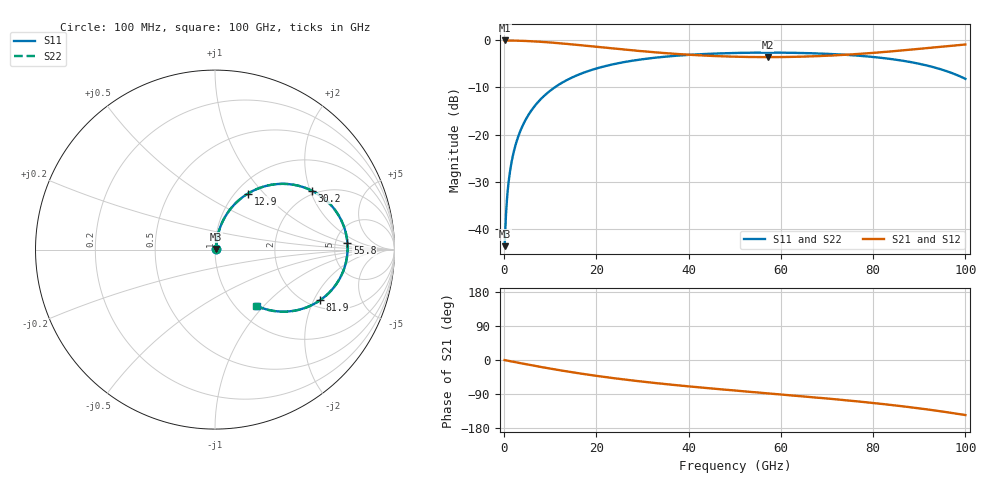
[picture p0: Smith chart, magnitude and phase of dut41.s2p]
! Touchstone file exported from HFSS 2026.1.0
!  File:  C:/ffzhzh/LocalFiles/Ansys_Project_Files/temp_train_RDL_41_1783498146_41296.aedt
!  Generated:  04:10:09 PM Jul  8, 2026
!  Design:  RDL
!  Project:  temp_train_RDL_41_1783498146_41296
! Variables:
!  h_bsmrdl = 2um
!  h_ox = 20um
!  h_rdl = 5um
!  h_sub = 80um
!  h_tmrdl = 2.78um
!  h_tsv = 80um
!  h_via = 3um
!  l_bsmrdl = 300um
!  l_sub = 904.33um
!  l_tmrdl = 504.33um
!  m_sub = 200um
!  pitch = 53.8um
!  r_tsv = 6um
!  s_tmrdl = 10um
!  w_bsmrdl = 18um
!  w_sub = 500um
!  w_tmrdl = 11.33um
!  x_tsv_center1 = 509.995um
!  x_tsv_center2 = 827.995um
!  x_tsv_center3 = 1343.655um
!  x_tsv_center4 = 1661.655um
!  x_tsv_center5 = 2177.315um
!  x_tsv_center6 = 2495.315um
# GHz S MA R 50.000000
! Terminal data exported
! Port[1] = TM_RDL1_1_T1
! Port[2] = TM_RDL1_1_T2
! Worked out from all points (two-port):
!   1000 points, 100 MHz to 100 GHz, reference 50 ohm
!   highest |S21| = -0.05 dB at 100 MHz (marker M1); lowest = -3.6 dB at 57.1 GHz (marker M2)
!   |S21| within 3 dB of the highest: start of sweep to 39.63 GHz; 74.58 GHz to end of sweep
!   lowest |S11| = -43.7 dB at 100 MHz (marker M3), VSWR 1.01, Z = 50.6 + j0.327 ohm
!   |S11| at or under -10 dB: start of sweep to 10.96 GHz
!   |S22| runs from -43.7 to -2.6 dB; largest |S21 - S12| = 1.8e-14
!   S11 on the Smith chart (normalised r, x): 100 MHz: 1.01, +0.01; 12.9 GHz: 1.14, +0.82; 30.2 GHz: 1.87, +2.05; 55.8 GHz: 6.49, +1.04; 81.9 GHz: 2.29, -2.24; 100 GHz: 1.23, -0.91
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0.1  0.006566 29.5  0.9943 -0.2  0.9943 -0.2  0.006566 29.5
! Gamma 0 0 0 0
! Port Impedance 50 0 50 0
0.9  0.02935 75.5  0.9933 -2.2  0.9933 -2.2  0.02935 75.5
1.4  0.04467 78.2  0.9925 -3.3  0.9925 -3.3  0.04467 78.2
2.3  0.07228 79.1  0.9905 -5.4  0.9905 -5.4  0.07228 79.1
3.4  0.1058 78.1  0.9872 -8.0  0.9872 -8.0  0.1058 78.1
5.1  0.1567 75.2  0.9798 -11.9  0.9798 -11.9  0.1567 75.2
7.2  0.217 71.0  0.9674 -16.7  0.9674 -16.7  0.217 71.0
9.8  0.287 65.7  0.948 -22.3  0.948 -22.3  0.287 65.7
12.9  0.3625 59.5  0.9208 -28.7  0.9208 -28.7  0.3625 59.5
16.8  0.4446 52.2  0.8833 -36.2  0.8833 -36.2  0.4445 52.2
22.9  0.5458 42.0  0.8245 -46.6  0.8245 -46.6  0.5458 42.0
30.2  0.6307 31.5  0.7626 -57.4  0.7626 -57.4  0.6306 31.5
33.4  0.6579 27.3  0.7398 -61.6  0.7398 -61.6  0.6579 27.3
41.5  0.7062 17.8  0.6954 -71.3  0.6954 -71.3  0.7062 17.8
50.1  0.7326 8.6  0.6687 -80.7  0.6687 -80.7  0.7326 8.6
55.8  0.7388 2.8  0.6624 -86.6  0.6624 -86.6  0.7388 2.8
57.1  0.7391 1.5  0.6621 -87.9  0.6621 -87.9  0.739 1.5
66.7  0.7275 -8.3  0.6746 -98.0  0.6746 -98.0  0.7275 -8.3
81.9  0.6495 -25.8  0.7469 -115.9  0.7469 -115.9  0.6494 -25.8
83.4  0.6364 -27.7  0.7575 -118.0  0.7575 -118.0  0.6363 -27.8
92.4  0.5284 -40.8  0.8323 -131.5  0.8323 -131.5  0.5283 -40.9
100  0.3898 -53.5  0.9011 -145.3  0.9011 -145.3  0.3897 -53.7
